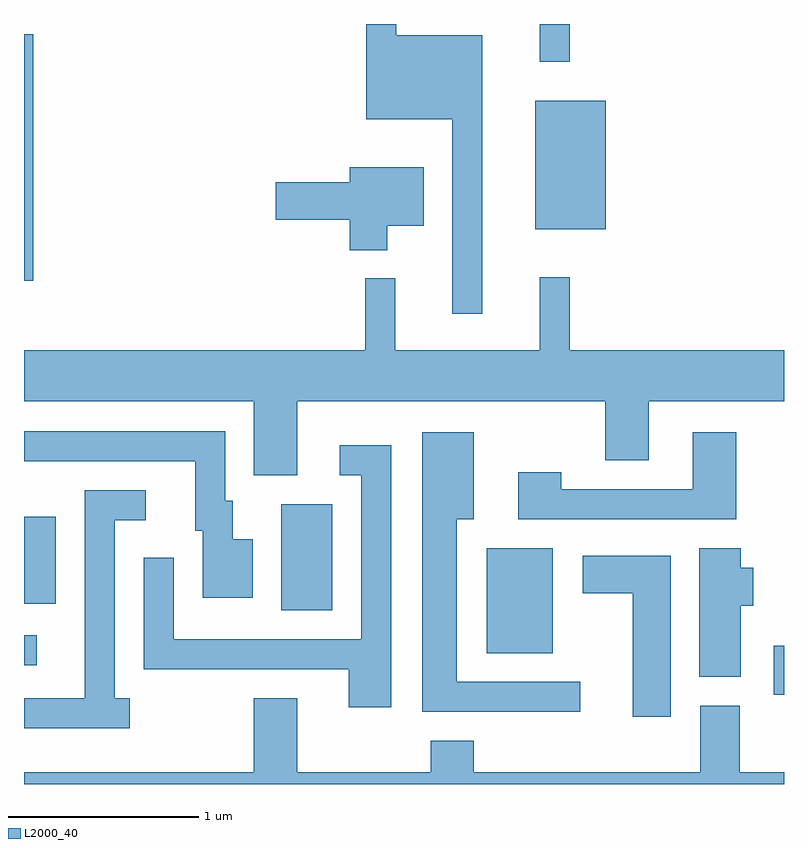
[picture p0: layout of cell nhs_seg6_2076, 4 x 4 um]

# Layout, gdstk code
import gdstk
lib = gdstk.Library(unit=1e-6, precision=1e-09)
def R(c, l, rs):  # rectangles x0, y0, x1, y1
    for r in rs: c.add(gdstk.rectangle(r[:2], r[2:], *l))
def P(c, l, *ps):  # polygons
    for p in ps: c.add(gdstk.Polygon(p, *l))
L2000_40 = (2000, 40)

nhs_seg6_2076 = lib.new_cell('nhs_seg6_2076')
R(nhs_seg6_2076, L2000_40, [(251.556,1630.631,251.611,1630.889), (247.611,1630.786,247.678,1630.944), (250.046,1630.851,250.394,1631.404), (248.966,1631.076,249.234,1631.634), (247.611,1631.111,247.779,1631.569), (247.611,1632.811,247.659,1634.109), (250.301,1633.081,250.674,1633.759), (250.326,1633.963,250.484,1634.162)])
P(nhs_seg6_2076, L2000_40, [(250.024,1634.104),(249.569,1634.104),(249.569,1634.162),(249.411,1634.162),(249.411,1633.661),(249.866,1633.661),(249.866,1632.638),(250.024,1632.638)],
  [(249.524,1633.101),(249.714,1633.101),(249.714,1633.409),(249.326,1633.409),(249.326,1633.329),(248.936,1633.329),(248.936,1633.131),(249.326,1633.131),(249.326,1632.971),(249.524,1632.971)],
  [(249.049,1632.176),(250.671,1632.176),(250.671,1631.866),(250.899,1631.866),(250.899,1632.176),(251.611,1632.176),(251.611,1632.444),(250.484,1632.444),(250.484,1632.828),(250.326,1632.828),(250.326,1632.444),(249.564,1632.444),(249.564,1632.823),(249.406,1632.823),(249.406,1632.444),(247.611,1632.444),(247.611,1632.176),(248.821,1632.176),(248.821,1631.786),(249.049,1631.786)],
  [(248.814,1631.449),(248.709,1631.449),(248.709,1631.654),(248.669,1631.654),(248.669,1632.019),(247.611,1632.019),(247.611,1631.861),(248.511,1631.861),(248.511,1631.496),(248.551,1631.496),(248.551,1631.141),(248.814,1631.141)],
  [(250.538,1630.699),(249.889,1630.699),(249.889,1631.556),(249.979,1631.556),(249.979,1632.014),(249.706,1632.014),(249.706,1630.541),(250.538,1630.541)],
  [(251.359,1632.014),(251.131,1632.014),(251.131,1631.714),(250.439,1631.714),(250.439,1631.804),(250.211,1631.804),(250.211,1631.556),(251.359,1631.556)],
  [(249.544,1631.944),(249.273,1631.944),(249.273,1631.786),(249.386,1631.786),(249.386,1630.924),(248.399,1630.924),(248.399,1631.353),(248.241,1631.353),(248.241,1630.766),(249.321,1630.766),(249.321,1630.566),(249.544,1630.566)],
  [(248.168,1630.614),(248.089,1630.614),(248.089,1631.551),(248.253,1631.551),(248.253,1631.709),(247.931,1631.709),(247.931,1630.614),(247.611,1630.614),(247.611,1630.456),(248.168,1630.456)],
  [(251.384,1631.101),(251.449,1631.101),(251.449,1631.299),(251.384,1631.299),(251.384,1631.404),(251.166,1631.404),(251.166,1630.726),(251.384,1630.726)],
  [(251.014,1631.364),(250.551,1631.364),(250.551,1631.166),(250.816,1631.166),(250.816,1630.516),(251.014,1630.516)],
  [(251.611,1630.224),(251.379,1630.224),(251.379,1630.574),(251.171,1630.574),(251.171,1630.224),(249.979,1630.224),(249.979,1630.389),(249.751,1630.389),(249.751,1630.224),(249.049,1630.224),(249.049,1630.614),(248.821,1630.614),(248.821,1630.224),(247.611,1630.224),(247.611,1630.162),(251.611,1630.162)])

lib.write_gds('nhs_seg6_2076.gds')
